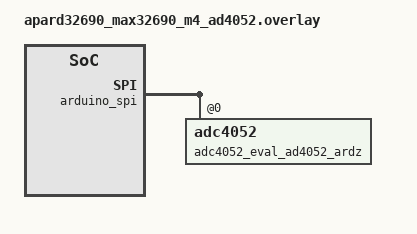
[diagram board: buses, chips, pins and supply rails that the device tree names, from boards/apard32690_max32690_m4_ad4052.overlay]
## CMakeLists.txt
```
# SPDX-License-Identifier: Apache-2.0

cmake_minimum_required(VERSION 3.28.0)

find_package(Zephyr REQUIRED HINTS $ENV{ZEPHYR_BASE})
project(adc_stream)

target_sources(app PRIVATE src/main.c)
```

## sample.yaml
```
sample:
  name: ADC stream sample
common:
  tags: adc
  depends_on: adc
  filter: dt_alias_exists("adc0") and dt_node_has_prop("/zephyr,user","io-channels")
  harness: console
  harness_config:
    type: one_line
    regex:
      - "^ADC data for [^@]+@\\d+ channel \\d+ \\([0-9.]+\\) \\d+ns$"
tests:
  sample.drivers.adc.adc_stream: {}
  sample.drivers.adc.adc_stream.ad4052-stream:
    extra_args:
      - SHIELD=eval_ad4052_ardz
      - EXTRA_CONF_FILE=ad4052-stream.conf
      - DTC_OVERLAY_FILE=boards/apard32690_max32690_m4_ad4052.overlay
    platform_allow:
      - apard32690/max32690/m4
  sample.drivers.adc.adc_stream.max32-stream:
    extra_args:
      - EXTRA_CONF_FILE=max32-stream.conf
      - DTC_OVERLAY_FILE=boards/apard32690_max32690_m4_max32.overlay
    platform_allow:
      - apard32690/max32690/m4
```

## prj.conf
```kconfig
CONFIG_ADC=y
CONFIG_GPIO=y
CONFIG_ADC_STREAM=y
```

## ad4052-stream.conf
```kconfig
# Copyright (c) 2025-2026 Analog Devices, Inc.
# SPDX-License-Identifier: Apache-2.0
CONFIG_AD405X_STREAM=y
CONFIG_SPI=y
CONFIG_SPI_RTIO=y
CONFIG_COUNTER=y
```

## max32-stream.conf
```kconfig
# Copyright (c) 2025 Analog Devices, Inc.
# SPDX-License-Identifier: Apache-2.0
CONFIG_ADC_MAX32_STREAM=y
```

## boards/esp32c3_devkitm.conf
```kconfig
#
# Copyright (c) 2026 Espressif Systems (Shanghai) Co., Ltd.
#
# SPDX-License-Identifier: Apache-2.0
#

CONFIG_MAIN_STACK_SIZE=2048
CONFIG_HEAP_MEM_POOL_SIZE=8192
CONFIG_SYSTEM_WORKQUEUE_STACK_SIZE=4096
```

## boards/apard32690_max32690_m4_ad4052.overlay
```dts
/*
 * Copyright (c) 2025 Analog Devices, Inc.
 *
 * SPDX-License-Identifier: Apache-2.0
 */

&arduino_spi {
	adc4052_eval_ad4052_ardz: adc4052@0 {
		sampling-period = <20000>; /*uS*/
	};
};
```

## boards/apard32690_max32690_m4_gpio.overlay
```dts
/*
 * Copyright (c) 2025-2026 Analog Devices, Inc.
 *
 * SPDX-License-Identifier: Apache-2.0
 */

/ {
	zephyr,user {
		io-channels = <&adc4052_eval_ad4052_ardz 0>;
	};
};

&adc {
	status = "disabled";
};

&adc4052_eval_ad4052_ardz {
	sampling-period = <20000>;
};
```

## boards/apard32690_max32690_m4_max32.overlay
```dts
/*
 * Copyright (c) 2025 Analog Devices, Inc.
 *
 * SPDX-License-Identifier: Apache-2.0
 */

/ {
	aliases {
		adc0 = &adc;
	};

	zephyr,user {
		io-channels = <&adc 0>;
	};
};

&adc_clk_ext_p0_9 {
	power-source = <MAX32_VSEL_VDDIOH>;
};

&adc {
	compatible = "adi,max32-adc-b-me18", "adi,max32-adc";
	reg = <0x40034000 0x1000>;
	pinctrl-0 = <&adc_clk_ext_p0_9>;
	pinctrl-names = "default";

	/* ADC parameters set up 25KSPS sampling rate */
	track-count = <96>;
	idle-count = <183>;

	#address-cells = <1>;
	#size-cells = <0>;
	#io-channel-cells = <1>;
	status = "okay";

	channel@0 {
		reg = <0>;
		zephyr,gain = "ADC_GAIN_1";
		zephyr,reference = "ADC_REF_INTERNAL";
		zephyr,acquisition-time = <ADC_ACQ_TIME_DEFAULT>;
		zephyr,resolution = <12>;
		zephyr,vref-mv = <1250>;
	};
};
```

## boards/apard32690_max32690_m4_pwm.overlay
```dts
/*
 * Copyright (c) 2025-2026 Analog Devices, Inc.
 *
 * SPDX-License-Identifier: Apache-2.0
 */

#include <zephyr/dt-bindings/pwm/pwm.h>

/ {
	zephyr,user {
		io-channels = <&adc4052_eval_ad4052_ardz 0>;
	};
};

&adc {
	status = "disabled";
};

&timer1 {
	clock-source = <ADI_MAX32_PRPH_CLK_SRC_PCLK>;
	prescaler = <1>;
	status = "okay";

	timer1_pwm: pwm {
		pinctrl-0 = <&tmr1b_ioa_p0_7>;
		pinctrl-names = "default";
		status = "okay";
	};
};

&adc4052_eval_ad4052_ardz {
	pwms = <&timer1_pwm 0 500000 PWM_POLARITY_NORMAL>;
	pwm-names = "cnv";
	/delete-property/ conversion-gpios;
};
```

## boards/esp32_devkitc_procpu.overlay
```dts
/*
 * Copyright (c) 2026 Espressif Systems (Shanghai) Co., Ltd.
 *
 * SPDX-License-Identifier: Apache-2.0
 */

/ {
	aliases {
		adc0 = &adc0;
	};

	zephyr,user {
		io-channels = <&adc0 3>, <&adc0 6>;
	};
};

&adc0 {
	status = "okay";
	#address-cells = <1>;
	#size-cells = <0>;

	channel@3 {
		reg = <3>;
		zephyr,gain = "ADC_GAIN_1_4";
		zephyr,reference = "ADC_REF_INTERNAL";
		zephyr,acquisition-time = <ADC_ACQ_TIME_DEFAULT>;
		zephyr,resolution = <12>;
	};

	channel@6 {
		reg = <6>;
		zephyr,gain = "ADC_GAIN_1_4";
		zephyr,reference = "ADC_REF_INTERNAL";
		zephyr,acquisition-time = <ADC_ACQ_TIME_DEFAULT>;
		zephyr,resolution = <12>;
	};
};
```

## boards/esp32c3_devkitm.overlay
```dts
/*
 * Copyright (c) 2026 Espressif Systems (Shanghai) Co., Ltd.
 *
 * SPDX-License-Identifier: Apache-2.0
 */

/ {
	aliases {
		adc0 = &adc0;
	};

	zephyr,user {
		io-channels = <&adc0 0>, <&adc0 1>;
	};
};

&adc0 {
	status = "okay";
	#address-cells = <1>;
	#size-cells = <0>;

	channel@0 {
		reg = <0>;
		zephyr,gain = "ADC_GAIN_1";
		zephyr,reference = "ADC_REF_INTERNAL";
		zephyr,acquisition-time = <ADC_ACQ_TIME_DEFAULT>;
		zephyr,resolution = <12>;
	};

	channel@1 {
		reg = <1>;
		zephyr,gain = "ADC_GAIN_1";
		zephyr,reference = "ADC_REF_INTERNAL";
		zephyr,acquisition-time = <ADC_ACQ_TIME_DEFAULT>;
		zephyr,resolution = <12>;
	};

	dmas = <&dma 2>;
};

&dma {
	status = "okay";
};
```

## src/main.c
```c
/*
 * Copyright (c) 2024 Centro de Inovacao EDGE
 * Copyright (c) 2025 Analog Devices, Inc.
 * SPDX-License-Identifier: Apache-2.0
 */

#include <stdio.h>
#include <stdlib.h>

#include <zephyr/device.h>
#include <zephyr/drivers/adc.h>
#include <zephyr/sys/util_macro.h>
#include <zephyr/rtio/rtio.h>
#include <zephyr/kernel.h>
#include <zephyr/dsp/print_format.h>

/* ADC node from the devicetree. */
#define SAMPLE_ADC_NODE DT_ALIAS(adc0)

#define SAMPLE_DT_SPEC_AND_COMMA(node_id, prop, idx) \
	COND_CODE_1(DT_PHA_HAS_CELL_AT_IDX(node_id, prop, idx, input), \
		    (ADC_DT_SPEC_GET_BY_IDX(node_id, idx),), ())

/* Data of ADC io-channels specified in devicetree. */
static const struct adc_dt_spec adc_channels[] = {
	DT_FOREACH_PROP_ELEM(DT_PATH(zephyr_user), io_channels, SAMPLE_DT_SPEC_AND_COMMA)
};
static const int adc_channels_count = ARRAY_SIZE(adc_channels);

static void init_adc(void)
{
	int i, ret;

	ret = adc_is_ready_dt(&adc_channels[0]);

	for (i = 0; i < adc_channels_count; i++) {
		ret = adc_channel_setup_dt(&adc_channels[i]);
	}
}

/* Define triggers for ADC stream. Trigger stands for an event that
 * will cause the ADC to read data and perform an operation on it.
 *
 * Format for each trigger is:
 * {trigger, operation to be done on the data associated to the trigger}
 *
 * For more information about supported triggers and data operations,
 * refer to the enums adc_trigger_type and adc_stream_data_opt.
 */
#define SAMPLE_ADC_TRIGGERS					\
	{ADC_TRIG_FIFO_FULL, ADC_STREAM_DATA_INCLUDE},		\
	{ADC_TRIG_FIFO_WATERMARK, ADC_STREAM_DATA_INCLUDE}

ADC_DT_STREAM_IODEV(iodev, SAMPLE_ADC_NODE, adc_channels, SAMPLE_ADC_TRIGGERS);

/* Mempool is used for sharing ADC data that has been read between ADC driver and the application.
 * Data read in the ADC driver is stored in the mempool and can be processed in the application.
 * Current values are set to support range of ADC drivers and can be optimized for smaller memory
 * footprint. sizeof(void *) is used so memory blocks are properly aligned for different
 * platforms.
 */
RTIO_DEFINE_WITH_MEMPOOL(adc_ctx, 16, 16, 20, 256, sizeof(void *));

static int print_adc_stream(const struct device *adc, struct rtio_iodev *local_iodev)
{
	int rc = 0;
	const struct adc_decoder_api *decoder;
	struct rtio_cqe *cqe;
	uint8_t *buf;
	uint32_t buf_len;
	rtio_sqe_handle_t handles;

	/* Start the streams */
	adc_stream(local_iodev, &adc_ctx, NULL, &handles);

	while (1) {
		/* CQE is a RTIO completion event. It is created in a ADC driver that is
		 * doing the streaming when there is a batch of data to be processed
		 * or some error occurred during ADC streaming. CQE contains result of
		 * data reading and userdata (if one is passed in adc_stream).
		 * It is used to retrieve mempool buffer where data is stored.
		 */
		cqe = rtio_cqe_consume_block(&adc_ctx);

		if (cqe->result != 0) {
			printk("async read failed %d\n", cqe->result);
			return cqe->result;
		}

		rc = rtio_cqe_get_mempool_buffer(&adc_ctx, cqe, &buf, &buf_len);

		if (rc != 0) {
			printk("get mempool buffer failed %d\n", rc);
			return rc;
		}

		rtio_cqe_release(&adc_ctx, cqe);

		rc = adc_get_decoder(adc, &decoder);

		if (rc != 0) {
			printk("sensor_get_decoder failed %d\n", rc);
			return rc;
		}

		for (int channel = 0; channel < adc_channels_count; channel++) {
			/* Frame iterator values when data comes from a FIFO */
			uint32_t adc_fit = 0;
			struct adc_data adc_data = {0};

			/* Number of ADC data frames */
			uint16_t frame_count;

			rc = decoder->get_frame_count(buf, channel, &frame_count);

			if (rc != 0) {
				printk("get_frame_count failed %d\n", rc);
				return rc;
			}

			/* Decode all available ADC sample frames */
			for (int i = 0; i < frame_count; i++) {
				decoder->decode(buf, channel, &adc_fit, 1, &adc_data);
				printk("ADC data for %s channel %d (%" PRIq(6) ") %lluns\n",
				adc->name, channel,
				PRIq_arg(adc_data.readings[0].value, 6, adc_data.shift),
				(adc_data.header.base_timestamp_ns
				+ adc_data.readings[0].timestamp_delta));
			}
		}

		rtio_release_buffer(&adc_ctx, buf, buf_len);
	}

	return rc;
}

int main(void)
{
	int ret;
	struct adc_sequence sequence;
	struct adc_read_config *read_cfg = iodev.data;

	read_cfg->sequence = &sequence;

	init_adc();
	ret = adc_sequence_init_dt(&adc_channels[0], &sequence);
	if (ret < 0) {
		printk("Failed to initialize ADC sequence: %d\n", ret);
		return 0;
	}
	for (int i = 1; i < adc_channels_count; i++) {
		sequence.channels |= BIT(adc_channels[i].channel_id);
	}

	print_adc_stream(adc_channels[0].dev, &iodev);

	return 0;
}
```
